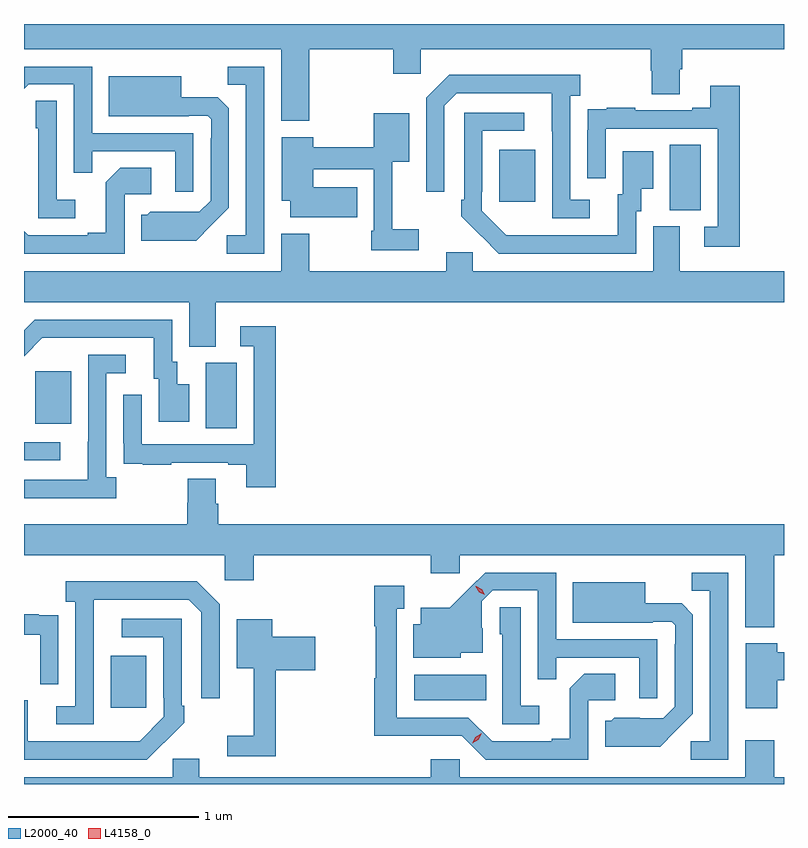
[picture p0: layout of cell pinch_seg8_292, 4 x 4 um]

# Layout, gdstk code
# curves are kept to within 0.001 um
import gdstk
lib = gdstk.Library(unit=1e-6, precision=1e-09)
def R(c, l, rs):  # rectangles x0, y0, x1, y1
    for r in rs: c.add(gdstk.rectangle(r[:2], r[2:], *l))
def P(c, l, *ps):  # polygons
    for p in ps: c.add(gdstk.Polygon(p, *l))
L2000_40 = (2000, 40)
L4158_0 = (4158, 0)

pinch_seg8_292 = lib.new_cell('pinch_seg8_292')
R(pinch_seg8_292, L2000_40, [(515.177,1150.329,515.365,1150.603), (516.774,1150.37,517.154,1150.504), (514.721,1151.631,514.912,1151.727), (515.678,1151.8,515.842,1152.144), (514.781,1151.825,514.969,1152.1), (518.12,1152.949,518.284,1153.292), (517.223,1152.993,517.411,1153.267)])
P(pinch_seg8_292, L2000_40, [(516.222,1153.796),(516.664,1153.796),(516.664,1153.665),(516.81,1153.665),(516.81,1153.796),(518.02,1153.796),(518.02,1153.683),(518.026,1153.683),(518.026,1153.558),(518.173,1153.558),(518.173,1153.69),(518.186,1153.69),(518.186,1153.796),(518.721,1153.796),(518.721,1153.928),(514.721,1153.928),(514.721,1153.796),(516.074,1153.796),(516.074,1153.418),(516.222,1153.418)],
  [(515.985,1153.704),(515.794,1153.704),(515.794,1153.609),(515.889,1153.609),(515.889,1152.816),(515.787,1152.816),(515.787,1152.72),(515.985,1152.72)],
  [(515.613,1153.353),(515.079,1153.353),(515.079,1153.704),(514.721,1153.704),(514.721,1153.586),(514.746,1153.611),(514.983,1153.611),(514.983,1153.144),(515.081,1153.144),(515.081,1153.257),(515.517,1153.257),(515.517,1153.044),(515.613,1153.044)],
  [(517.699,1153.002),(517.596,1153.002),(517.596,1153.55),(517.648,1153.55),(517.648,1153.66),(516.958,1153.66),(516.837,1153.539),(516.837,1153.044),(516.933,1153.044),(516.933,1153.497),(516.999,1153.563),(517.499,1153.563),(517.5,1152.906),(517.699,1152.906)],
  [(515.707,1152.869),(515.799,1152.962),(515.799,1153.484),(515.74,1153.543),(515.548,1153.543),(515.548,1153.654),(515.168,1153.654),(515.168,1153.442),(515.588,1153.442),(515.588,1153.446),(515.688,1153.446),(515.706,1153.428),(515.706,1153.328),(515.703,1153.328),(515.703,1152.999),(515.643,1152.939),(515.386,1152.94),(515.37,1152.924),(515.339,1152.924),(515.339,1152.788),(515.627,1152.788)],
  [(518.489,1153.603),(518.333,1153.603),(518.333,1153.486),(518.237,1153.486),(518.237,1153.473),(517.937,1153.473),(517.937,1153.486),(517.789,1153.486),(517.789,1153.479),(517.687,1153.479),(517.687,1153.37),(517.686,1153.37),(517.686,1153.116),(517.782,1153.116),(517.782,1153.377),(518.373,1153.377),(518.373,1152.861),(518.301,1152.861),(518.301,1152.756),(518.489,1152.756)],
  [(514.99,1153.003),(514.893,1153.003),(514.893,1153.523),(514.782,1153.523),(514.782,1153.38),(514.797,1153.38),(514.797,1152.906),(514.99,1152.906)],
  [(517.944,1152.942),(517.969,1152.942),(517.969,1153.061),(518.032,1153.061),(518.032,1153.258),(517.871,1153.258),(517.871,1153.032),(517.847,1153.032),(517.847,1152.816),(517.26,1152.817),(517.131,1152.945),(517.131,1153.045),(517.134,1153.045),(517.134,1153.365),(517.354,1153.365),(517.354,1153.461),(517.038,1153.461),(517.038,1153.003),(517.023,1153.003),(517.023,1152.915),(517.22,1152.72),(517.944,1152.72)],
  [(516.799,1152.847),(516.659,1152.847),(516.659,1153.202),(516.748,1153.202),(516.748,1153.459),(516.561,1153.459),(516.561,1153.28),(516.244,1153.28),(516.244,1153.333),(516.077,1153.333),(516.077,1152.998),(516.122,1152.998),(516.122,1152.911),(516.475,1152.911),(516.475,1153.069),(516.244,1153.069),(516.244,1153.164),(516.561,1153.164),(516.561,1152.841),(516.549,1152.841),(516.549,1152.738),(516.799,1152.738)],
  [(515.25,1153.032),(515.392,1153.032),(515.392,1153.172),(515.227,1153.172),(515.151,1153.096),(515.151,1152.829),(515.057,1152.829),(515.057,1152.816),(514.743,1152.816),(514.721,1152.838),(514.721,1152.72),(515.25,1152.72)],
  [(515.731,1152.464),(518.721,1152.464),(518.721,1152.628),(518.173,1152.628),(518.173,1152.864),(518.033,1152.864),(518.033,1152.628),(517.083,1152.628),(517.083,1152.726),(516.944,1152.726),(516.944,1152.628),(516.222,1152.628),(516.222,1152.823),(516.074,1152.823),(516.074,1152.628),(514.721,1152.628),(514.721,1152.464),(515.591,1152.464),(515.591,1152.229),(515.731,1152.229)],
  [(515.59,1152.031),(515.527,1152.031),(515.527,1152.15),(515.502,1152.15),(515.502,1152.372),(514.778,1152.372),(514.721,1152.315),(514.721,1152.179),(514.818,1152.276),(515.405,1152.276),(515.405,1152.06),(515.429,1152.06),(515.429,1151.835),(515.59,1151.835)],
  [(516.047,1152.337),(515.859,1152.337),(515.859,1152.231),(515.931,1152.231),(515.931,1151.715),(515.34,1151.715),(515.34,1151.977),(515.244,1151.977),(515.244,1151.722),(515.245,1151.722),(515.245,1151.613),(515.347,1151.613),(515.347,1151.607),(515.495,1151.607),(515.495,1151.619),(515.795,1151.619),(515.795,1151.607),(515.891,1151.607),(515.891,1151.49),(516.047,1151.49)],
  [(515.206,1151.542),(515.154,1151.542),(515.154,1152.09),(515.257,1152.09),(515.257,1152.186),(515.058,1152.186),(515.058,1151.729),(515.057,1151.729),(515.057,1151.529),(514.721,1151.529),(514.721,1151.432),(515.206,1151.432)],
  [(518.669,1151.132),(518.721,1151.132),(518.721,1151.296),(515.744,1151.296),(515.744,1151.402),(515.731,1151.402),(515.731,1151.534),(515.584,1151.534),(515.584,1151.409),(515.579,1151.409),(515.579,1151.296),(514.721,1151.296),(514.721,1151.132),(515.778,1151.132),(515.778,1151.001),(515.93,1151.001),(515.93,1151.132),(516.863,1151.132),(516.863,1151.037),(517.014,1151.037),(517.014,1151.132),(518.516,1151.132),(518.516,1150.754),(518.669,1150.754)],
  [(518.055,1150.689),(517.521,1150.689),(517.521,1151.04),(517.148,1151.04),(516.961,1150.855),(516.809,1150.855),(516.809,1150.768),(516.77,1150.768),(516.77,1150.592),(517.02,1150.592),(517.02,1150.619),(517.135,1150.619),(517.135,1150.748),(517.131,1150.748),(517.131,1150.89),(517.188,1150.947),(517.425,1150.947),(517.425,1150.48),(517.523,1150.48),(517.523,1150.593),(517.959,1150.593),(517.959,1150.38),(518.055,1150.38)],
  [(518.427,1151.04),(518.236,1151.04),(518.236,1150.945),(518.331,1150.945),(518.331,1150.152),(518.229,1150.152),(518.229,1150.056),(518.427,1150.056)],
  [(515.088,1150.699),(515.089,1150.899),(515.589,1150.899),(515.655,1150.833),(515.655,1150.38),(515.751,1150.38),(515.751,1150.875),(515.63,1150.996),(514.941,1150.996),(514.941,1150.886),(514.992,1150.886),(514.992,1150.338),(514.89,1150.338),(514.89,1150.242),(515.088,1150.242)],
  [(518.149,1150.205),(518.241,1150.298),(518.241,1150.82),(518.182,1150.879),(517.99,1150.879),(517.99,1150.99),(517.61,1150.99),(517.61,1150.778),(518.03,1150.778),(518.03,1150.782),(518.13,1150.782),(518.148,1150.764),(518.148,1150.664),(518.145,1150.664),(518.145,1150.335),(518.085,1150.275),(517.828,1150.276),(517.812,1150.26),(517.781,1150.26),(517.781,1150.124),(518.069,1150.124)],
  [(517.692,1150.368),(517.834,1150.368),(517.834,1150.508),(517.669,1150.508),(517.593,1150.432),(517.593,1150.165),(517.499,1150.165),(517.499,1150.152),(517.185,1150.152),(517.059,1150.278),(516.682,1150.278),(516.682,1150.851),(516.721,1150.851),(516.721,1150.972),(516.564,1150.972),(516.564,1150.759),(516.571,1150.759),(516.571,1150.485),(516.564,1150.485),(516.564,1150.181),(517.026,1150.182),(517.152,1150.056),(517.692,1150.056)],
  [(517.432,1150.339),(517.335,1150.339),(517.335,1150.859),(517.224,1150.859),(517.224,1150.716),(517.239,1150.716),(517.239,1150.242),(517.432,1150.242)],
  [(514.902,1150.706),(514.901,1150.706),(514.901,1150.815),(514.799,1150.815),(514.799,1150.822),(514.721,1150.822),(514.721,1150.713),(514.806,1150.713),(514.806,1150.452),(514.902,1150.452)],
  [(515.459,1150.147),(515.46,1150.146),(515.565,1150.251),(515.565,1150.339),(515.55,1150.339),(515.55,1150.797),(515.235,1150.797),(515.235,1150.701),(515.454,1150.701),(515.454,1150.381),(515.457,1150.381),(515.457,1150.281),(515.329,1150.153),(514.741,1150.152),(514.741,1150.368),(514.721,1150.368),(514.721,1150.056),(515.368,1150.056)],
  [(516.047,1150.526),(516.253,1150.526),(516.253,1150.704),(516.028,1150.704),(516.028,1150.795),(515.84,1150.795),(515.84,1150.538),(515.93,1150.538),(515.93,1150.183),(515.79,1150.183),(515.79,1150.074),(516.047,1150.074)],
  [(518.686,1150.475),(518.721,1150.475),(518.721,1150.622),(518.686,1150.622),(518.686,1150.669),(518.519,1150.669),(518.519,1150.326),(518.686,1150.326)],
  [(518.721,1149.964),(518.669,1149.964),(518.669,1150.159),(518.516,1150.159),(518.516,1149.964),(517.014,1149.964),(517.014,1150.057),(516.863,1150.057),(516.863,1149.964),(515.644,1149.964),(515.644,1150.062),(515.505,1150.062),(515.505,1149.964),(514.721,1149.964),(514.721,1149.928),(518.721,1149.928)])
P(pinch_seg8_292, L4158_0, [(517.147,1150.923),(517.116,1150.938),(517.099,1150.967),(517.099,1150.968),(517.1,1150.968),(517.13,1150.953),(517.147,1150.924),(517.147,1150.923)],
  [(517.08,1150.143),(517.08,1150.143),(517.097,1150.175),(517.129,1150.194),(517.13,1150.194),(517.13,1150.194),(517.112,1150.161),(517.08,1150.143)])

lib.write_gds('pinch_seg8_292.gds')
